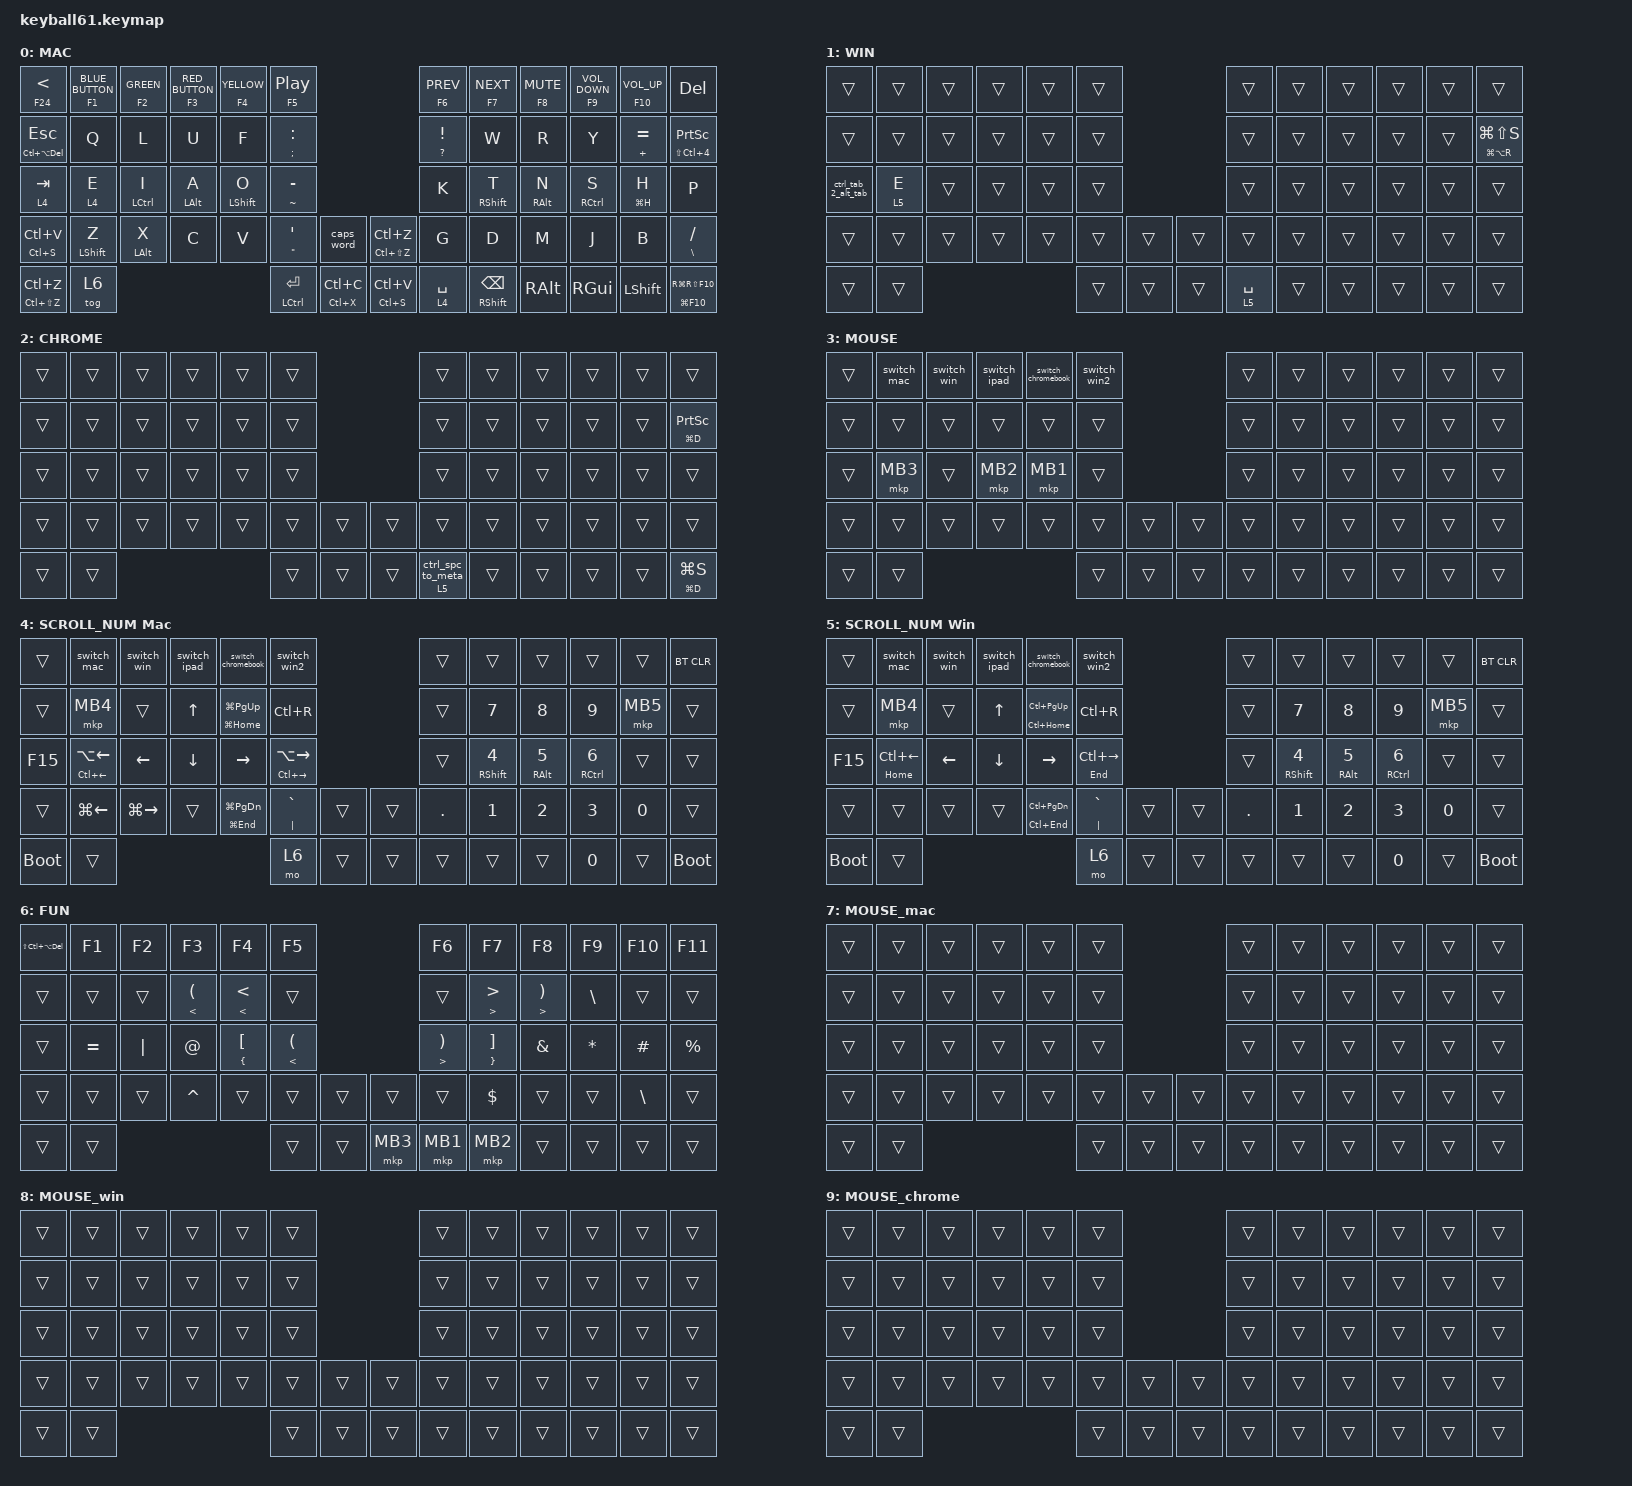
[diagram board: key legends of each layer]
#include <behaviors/mouse_keys.dtsi>
#include <dt-bindings/zmk/mouse.h>
#include <input/processors.dtsi>
#include <behaviors.dtsi>
#include <dt-bindings/zmk/bt.h>
#include <dt-bindings/zmk/keys.h>
#include <dt-bindings/zmk/pointing.h>

// マウスキーを押したらタイムアウトを延長（ドラッグやダブルクリックを考慮 1秒）
// Note: temp-layer は「指定レイヤーを一時的に有効化→解除時に無効化」なので、ここはマウスレイヤーを延長対象にする。

&mkp_input_listener { input-processors = <&zip_temp_layer 3 1000>; };

&lt {
    tapping-term-ms = <280>;
    flavor = "balanced";
    quick-tap-ms = <175>;
    require-prior-idle-ms = <125>;
};

&mt {
    tapping-term-ms = <175>;
    quick-tap-ms = <150>;
};

&caps_word {
    continue-list = <UNDERSCORE BACKSPACE DELETE MINUS>;
    mods = <(MOD_LSFT|MOD_RSFT)>;
};

/ {
    combos {
        compatible = "zmk,combos";

        comma {
            bindings = <&kp COMMA>;
            key-positions = <40 39>;
            require-prior-idle-ms = <40>;
        };

        period {
            bindings = <&kp PERIOD>;
            key-positions = <45 46>;
            require-prior-idle-ms = <40>;
        };

        mb3 {
            bindings = <&mkp MB3>;
            key-positions = <28 27>;
            layers = <3>;
            require-prior-idle-ms = <125>;
        };

        mb4 {
            bindings = <&mkp MB4>;
            key-positions = <14 15>;
            require-prior-idle-ms = <125>;
        };

        mb5 {
            bindings = <&mkp MB5>;
            key-positions = <21 20>;
            require-prior-idle-ms = <125>;
        };

        close {
            bindings = <&kp LC(W)>;
            key-positions = <16 14>;
        };

        reload {
            bindings = <&kp LC(R)>;
            key-positions = <19 21>;
        };

        tab {
            bindings = <&kp TAB>;
            key-positions = <38 40>;
            require-prior-idle-ms = <125>;
        };

        symbol_layer {
            bindings = <&mo 6>;
            key-positions = <55 52>;
            timeout-ms = <80>;
            require-prior-idle-ms = <175>;
        };

        eisu_mac {
            bindings = <&eisu 0 LANGUAGE_2>;
            key-positions = <28 27>;
            require-prior-idle-ms = <125>;
            layers = <0 4 6>;
        };

        eisu_win {
            bindings = <&eisu 0 LS(LC(NUMBER_9))>;
            key-positions = <28 27>;
            require-prior-idle-ms = <125>;
            layers = <1 5>;
        };

        eisu_chrome {
            bindings = <&eisu_chrome 0 LC(SPACE)>;
            key-positions = <28 27>;
            require-prior-idle-ms = <125>;
            layers = <2>;
        };

        kana_mac {
            bindings = <&mc RG(RS(R)) LANGUAGE_1>;
            key-positions = <31 32>;
            require-prior-idle-ms = <125>;
            layers = <0 4 6>;
        };

        kana_win {
            bindings = <&kana_win>;
            key-positions = <31 32>;
            require-prior-idle-ms = <125>;
            layers = <1 5>;
        };

        kana_chrome {
            bindings = <&mc LC(SPACE) INT4>;
            key-positions = <31 32>;
            require-prior-idle-ms = <125>;
            layers = <2>;
        };

        exit_mac {
            bindings = <&to 0>;
            key-positions = <28 27>;
            layers = <7>;
        };

        exit_win {
            bindings = <&to 1>;
            key-positions = <28 27>;
            layers = <8>;
        };

        exit_chrome {
            bindings = <&to 2>;
            key-positions = <28 27>;
            layers = <9>;
        };

        switcher_mac {
            bindings = <&ctrl_tab>;
            key-positions = <45 47>;
            require-prior-idle-ms = <150>;
            layers = <0 4 6>;
        };

        switcher_win {
            bindings = <&alt_tab>;
            key-positions = <45 47>;
            require-prior-idle-ms = <150>;
            layers = <1 2 5>;
        };

        launcher {
            bindings = <&kp LS(LC(LA(LEFT_GUI)))>;
            key-positions = <45 46 47>;
            require-prior-idle-ms = <125>;
        };
    };

    behaviors {
        hmr: homerow_mods_right {
            compatible = "zmk,behavior-hold-tap";
            label = "HOMEROW_MODS_RIGHT";
            bindings = <&kp>, <&kp>;

            #binding-cells = <2>;
            tapping-term-ms = <290>;
            quick-tap-ms = <175>;
            flavor = "balanced";
            require-prior-idle-ms = <125>;
            hold-trigger-on-release;
            hold-trigger-key-positions = <0 1 2 3 4 5 12 13 14 15 16 17 24 25 26 27 28 29 36 37 38 39 40 41 42 50 51 52 53>;
        };

        hml: home_mod_left {
            compatible = "zmk,behavior-hold-tap";
            label = "HOME_MOD_LEFT";
            bindings = <&kp>, <&kp>;

            #binding-cells = <2>;
            tapping-term-ms = <280>;
            quick-tap-ms = <175>;
            flavor = "balanced";
            require-prior-idle-ms = <125>;
            hold-trigger-on-release;
            hold-trigger-key-positions = <6 7 8 9 10 11 18 19 20 21 22 23 30 31 32 33 34 35 43 44 45 46 47 48 49 54 55 56 57 58 59 60>;
        };

        hl: homerow_layer {
            compatible = "zmk,behavior-hold-tap";
            label = "HOMEROW_LAYER";
            bindings = <&mo>, <&kp>;

            #binding-cells = <2>;
            tapping-term-ms = <220>;
            quick-tap-ms = <175>;
            flavor = "tap-preferred";
            require-prior-idle-ms = <125>;
        };

        ctrl_spc_to_meta: ctrl_spc_to_meta {
            compatible = "zmk,behavior-mod-morph";
            label = "CTRL_SPC_TO_META";
            bindings = <&kp SPACE>, <&kp LEFT_GUI>;

            #binding-cells = <0>;
            mods = <(MOD_LCTL)>;
        };

        ht_cb_space: ht_cb_space {
            compatible = "zmk,behavior-hold-tap";
            label = "HT_CB_SPACE";
            bindings = <&mo>, <&ctrl_spc_to_meta>;

            #binding-cells = <2>;
            tapping-term-ms = <280>;
            quick-tap-ms = <175>;
            require-prior-idle-ms = <125>;
            flavor = "balanced";
        };

        eisu: eisu {
            compatible = "zmk,behavior-hold-tap";
            label = "EISU";
            bindings = <&to_eisu_then_confirm>, <&kp>;

            #binding-cells = <2>;
            flavor = "tap-preferred";
            tapping-term-ms = <200>;
        };

        mc: mod_combo {
            compatible = "zmk,behavior-hold-tap";
            label = "ModCombo";
            bindings = <&kp>, <&kp>;

            #binding-cells = <2>;
            tapping-term-ms = <200>;
            flavor = "tap-preferred";
            quick-tap-ms = <175>;
            require-prior-idle-ms = <125>;
        };

        hml_retro: hml_retro {
            compatible = "zmk,behavior-hold-tap";
            label = "HML_RETRO";
            bindings = <&kp>, <&kp>;

            #binding-cells = <2>;
            tapping-term-ms = <280>;
            quick-tap-ms = <175>;
            flavor = "tap-preferred";
            require-prior-idle-ms = <125>;
            hold-trigger-on-release;
            hold-trigger-key-positions = <6 7 8 9 10 11 18 19 20 21 22 23 30 31 32 33 34 35 43 44 45 46 47 48 49 54 55 56 57 58 59 60>;
            retro-tap;
        };

        hmr_retro: hmr_retro {
            compatible = "zmk,behavior-hold-tap";
            label = "HMR_RETRO";
            bindings = <&kp>, <&kp>;

            #binding-cells = <2>;
            tapping-term-ms = <280>;
            quick-tap-ms = <175>;
            flavor = "tap-preferred";
            require-prior-idle-ms = <125>;
            hold-trigger-on-release;
            hold-trigger-key-positions = <0 1 2 3 4 5 12 13 14 15 16 17 24 25 26 27 28 29 36 37 38 39 40 41 42 50 51 52 53>;
            retro-tap;
        };

        eisu_chrome: eisu_chrome {
            compatible = "zmk,behavior-hold-tap";
            label = "EISU_CHROME";
            bindings = <&to_eisu_then_confirm_chrome>, <&kp>;

            #binding-cells = <2>;
            flavor = "tap-preferred";
            tapping-term-ms = <200>;
            require-prior-idle-ms = <125>;
            quick-tap-ms = <175>;
        };

        ctrl_tab_2_alt_tab: ctrl_tab_2_alt_tab {
            compatible = "zmk,behavior-mod-morph";
            label = "CTRL_TAB_2_ALT_TAB";
            bindings = <&kp TAB>, <&kp LA(TAB)>;

            #binding-cells = <0>;
            mods = <(MOD_LCTL)>;
        };
    };

    macros {
        switch_mac: switch_mac {
            compatible = "zmk,behavior-macro";
            #binding-cells = <0>;
            bindings = <&bt BT_SEL 0 &to 0>;
            label = "SWITCH_MAC";
        };

        switch_win: switch_win {
            compatible = "zmk,behavior-macro";
            #binding-cells = <0>;
            bindings = <&bt BT_SEL 1 &to 1>;
            label = "SWITCH_WIN";
        };

        switch_ipad: switch_iPad {
            compatible = "zmk,behavior-macro";
            #binding-cells = <0>;
            bindings = <&bt BT_SEL 2 &to 0>;
            label = "SWITCH_IPAD";
        };

        switch_chromebook: switch_chromebook {
            compatible = "zmk,behavior-macro";
            #binding-cells = <0>;
            bindings = <&bt BT_SEL 3 &to 2>;
            label = "SWITCH_CHROMEBOOK";
        };

        switch_win2: switch_mac2 {
            compatible = "zmk,behavior-macro";
            #binding-cells = <0>;
            bindings = <&bt BT_SEL 4 &to 1>;
            label = "SWITCH_MAC2";
        };

        to_eisu_then_confirm: to_alphabet_then_enter {
            compatible = "zmk,behavior-macro";
            #binding-cells = <0>;
            bindings = <&kp F10>, <&macro_wait_time 1>, <&kp LANGUAGE_2>;

            label = "TO_ALPHABET_THEN_ENTER";
        };

        to_eisu_then_confirm_chrome: to_eisu_then_confirm_chrome {
            compatible = "zmk,behavior-macro";
            #binding-cells = <0>;
            bindings =
                <&kp F10>,
                <&macro_wait_time 1>,
                <&kp LANGUAGE_2>,
                <&macro_wait_time 1>,
                <&kp INTERNATIONAL_4>,
                <&macro_wait_time 1>,
                <&kp LC(RIGHT)>;

            label = "TO_EISU_THEN_CONFIRM_CHROME";
        };

        ctrl_tab: ctrl_tab {
            compatible = "zmk,behavior-macro";
            #binding-cells = <0>;
            bindings =
                <&macro_press>,
                <&kp LCTRL &mo 4>,
                <&macro_tap>,
                <&kp TAB>,
                <&macro_pause_for_release>,
                <&macro_release>,
                <&kp LCTRL &mo 4>;
        };

        alt_tab: alt_tab {
            compatible = "zmk,behavior-macro";
            #binding-cells = <0>;
            bindings =
                <&macro_press>,
                <&kp LALT &mo 5>,
                <&macro_tap>,
                <&kp TAB>,
                <&macro_pause_for_release>,
                <&macro_release>,
                <&kp LALT &mo 5>;
        };

        kana_win: kana_win {
            compatible = "zmk,behavior-macro";
            #binding-cells = <0>;
            bindings =
                <&mc LG(SLASH) LS(LC(NUMBER_8))>,
                <&macro_wait_time 1>,
                <&kp LANG1>;

            label = "KANA_WIN";
        };
    };

    keymap {
        compatible = "zmk,keymap";

        default_mac {
            label = "MAC";
            bindings = <
&mt F24 LESS_THAN          &mt F1 C_BLUE_BUTTON  &mt F2 C_GREEN  &mt F3 C_RED_BUTTON  &mt F4 C_YELLOW    &mt F5 C_PLAY_PAUSE                                                   &mt F6 C_PREV             &mt F7 C_NEXT              &mt F8 C_MUTE     &mt F9 C_VOLUME_DOWN  &mt F10 C_VOLUME_UP  &kp DELETE
&mt LC(LA(DELETE)) ESCAPE  &kp Q                 &kp L           &kp U                &kp F              &mt SEMI COLON                                                        &mt QUESTION EXCLAMATION  &kp W                      &kp R             &kp Y                 &mt PLUS EQUAL       &mt LS(LC(NUMBER_4)) PRINTSCREEN
&lt 4 TAB                  &hl 4 E               &hml LCTRL I    &hml LEFT_ALT A      &hml LEFT_SHIFT O  &mt TILDE MINUS                                                       &kp K                     &hmr RIGHT_SHIFT T         &hmr RIGHT_ALT N  &hmr RCTRL S          &hmr_retro LG(H) H   &kp P
&mt LC(S) LC(V)            &mt LEFT_SHIFT Z      &mt LEFT_ALT X  &kp C                &kp V              &mt DOUBLE_QUOTES SINGLE_QUOTE  &caps_word       &mt LC(LS(Z)) LC(Z)  &kp G                     &kp D                      &kp M             &kp J                 &kp B                &mt BACKSLASH SLASH
&mt LC(LS(Z)) LC(Z)        &tog 6                                                                        &mt LCTRL ENTER                 &mt LC(X) LC(C)  &mt LC(S) LC(V)      &lt 4 SPACE               &mt RIGHT_SHIFT BACKSPACE  &kp RIGHT_ALT     &kp RIGHT_GUI         &kp LEFT_SHIFT       &mt LG(F10) RG(RS(F10))
            >;
        };

        default_win {
            label = "WIN";
            bindings = <
&trans               &trans   &trans  &trans  &trans  &trans                  &trans       &trans  &trans  &trans  &trans  &trans
&trans               &trans   &trans  &trans  &trans  &trans                  &trans       &trans  &trans  &trans  &trans  &mt LG(LA(R)) LG(LS(S))
&ctrl_tab_2_alt_tab  &hl 5 E  &trans  &trans  &trans  &trans                  &trans       &trans  &trans  &trans  &trans  &trans
&trans               &trans   &trans  &trans  &trans  &trans  &trans  &trans  &trans       &trans  &trans  &trans  &trans  &trans
&trans               &trans                           &trans  &trans  &trans  &lt 5 SPACE  &trans  &trans  &trans  &trans  &trans
            >;
        };

        chromebook {
            bindings = <
&trans  &trans  &trans  &trans  &trans  &trans                  &trans            &trans  &trans  &trans  &trans  &trans
&trans  &trans  &trans  &trans  &trans  &trans                  &trans            &trans  &trans  &trans  &trans  &mt LG(D) PRINTSCREEN
&trans  &trans  &trans  &trans  &trans  &trans                  &trans            &trans  &trans  &trans  &trans  &trans
&trans  &trans  &trans  &trans  &trans  &trans  &trans  &trans  &trans            &trans  &trans  &trans  &trans  &trans
&trans  &trans                          &trans  &trans  &trans  &ht_cb_space 5 0  &trans  &trans  &trans  &trans  &mt LG(D) LG(S)
            >;

            label = "CHROME";
        };

        mouse_layer {
            label = "MOUSE";
            bindings = <
&trans  &switch_mac  &switch_win  &switch_ipad  &switch_chromebook  &switch_win2                  &trans  &trans  &trans  &trans  &trans  &trans
&trans  &trans       &trans       &trans        &trans              &trans                        &trans  &trans  &trans  &trans  &trans  &trans
&trans  &mkp MB3     &trans       &mkp MB2      &mkp MB1            &trans                        &trans  &trans  &trans  &trans  &trans  &trans
&trans  &trans       &trans       &trans        &trans              &trans        &trans  &trans  &trans  &trans  &trans  &trans  &trans  &trans
&trans  &trans                                                      &trans        &trans  &trans  &trans  &trans  &trans  &trans  &trans  &trans
            >;
        };

        scroll_num_bt_layer-mac {
            label = "SCROLL_NUM Mac";
            bindings = <
&trans       &switch_mac            &switch_win          &switch_ipad    &switch_chromebook      &switch_win2                             &trans      &trans                     &trans                   &trans                       &trans    &bt BT_CLR
&trans       &mkp MB4               &trans               &kp UP_ARROW    &mt LG(HOME) LG(PG_UP)  &kp LC(R)                                &trans      &kp N7                     &kp N8                   &kp N9                       &mkp MB5  &trans
&kp F15      &mt LC(LEFT) LA(LEFT)  &kp LEFT_ARROW       &kp DOWN_ARROW  &kp RIGHT               &mt LC(RIGHT) LA(RIGHT)                  &trans      &hmr RIGHT_SHIFT NUMBER_4  &hmr RIGHT_ALT NUMBER_5  &hmr RIGHT_CONTROL NUMBER_6  &trans    &trans
&trans       &kp LG(LEFT)           &kp LG(RIGHT_ARROW)  &trans          &mt LG(END) LG(PG_DN)   &mt PIPE GRAVE           &trans  &trans  &kp PERIOD  &kp NUMBER_1               &kp NUMBER_2             &kp NUMBER_3                 &kp N0    &trans
&bootloader  &trans                                                                              &mo 6                    &trans  &trans  &trans      &trans                     &trans                   &kp N0                       &trans    &bootloader
            >;
        };

        scroll_num_bt_layer-win {
            label = "SCROLL_NUM Win";
            bindings = <
&trans       &switch_mac              &switch_win     &switch_ipad    &switch_chromebook      &switch_win2                       &trans      &trans                    &trans                  &trans                      &trans    &bt BT_CLR
&trans       &mkp MB4                 &trans          &kp UP_ARROW    &mt LC(HOME) LC(PG_UP)  &kp LC(R)                          &trans      &kp N7                    &kp N8                  &kp N9                      &mkp MB5  &trans
&kp F15      &mt HOME LC(LEFT_ARROW)  &kp LEFT_ARROW  &kp DOWN_ARROW  &kp RIGHT               &mt END LC(RIGHT)                  &trans      &mt RIGHT_SHIFT NUMBER_4  &mt RIGHT_ALT NUMBER_5  &mt RIGHT_CONTROL NUMBER_6  &trans    &trans
&trans       &trans                   &trans          &trans          &mt LC(END) LC(PG_DN)   &mt PIPE GRAVE     &trans  &trans  &kp PERIOD  &kp NUMBER_1              &kp NUMBER_2            &kp NUMBER_3                &kp N0    &trans
&bootloader  &trans                                                                           &mo 6              &trans  &trans  &trans      &trans                    &trans                  &kp N0                      &trans    &bootloader
            >;
        };

        function_layer {
            label = "FUN";
            bindings = <
&kp LS(LC(LA(DEL)))  &kp F1     &kp F2    &kp F3                          &kp F4                       &kp F5                                            &kp F6                              &kp F7                         &kp F8                              &kp F9         &kp F10        &kp F11
&trans               &trans     &trans    &mt LESS_THAN LEFT_PARENTHESIS  &mt LESS_THAN LESS_THAN      &trans                                            &trans                              &mt GREATER_THAN GREATER_THAN  &mt GREATER_THAN RIGHT_PARENTHESIS  &kp BACKSLASH  &trans         &trans
&trans               &kp EQUAL  &kp PIPE  &kp AT_SIGN                     &mt LEFT_BRACE LEFT_BRACKET  &mt LESS_THAN LEFT_PARENTHESIS                    &mt GREATER_THAN RIGHT_PARENTHESIS  &mt RIGHT_BRACE RIGHT_BRACKET  &kp AMPERSAND                       &kp ASTERISK   &kp HASH       &kp PERCENT
&trans               &trans     &trans    &kp CARET                       &trans                       &trans                          &trans  &trans    &trans                              &kp DOLLAR                     &trans                              &trans         &kp BACKSLASH  &trans
&trans               &trans                                                                            &trans                          &trans  &mkp MB3  &mkp MB1                            &mkp MB2                       &trans                              &trans         &trans         &trans
            >;
        };

        exit_mac {
            bindings = <
&trans  &trans  &trans  &trans  &trans  &trans                  &trans  &trans  &trans  &trans  &trans  &trans
&trans  &trans  &trans  &trans  &trans  &trans                  &trans  &trans  &trans  &trans  &trans  &trans
&trans  &trans  &trans  &trans  &trans  &trans                  &trans  &trans  &trans  &trans  &trans  &trans
&trans  &trans  &trans  &trans  &trans  &trans  &trans  &trans  &trans  &trans  &trans  &trans  &trans  &trans
&trans  &trans                          &trans  &trans  &trans  &trans  &trans  &trans  &trans  &trans  &trans
            >;

            label = "MOUSE_mac";
        };

        exit_win {
            bindings = <
&trans  &trans  &trans  &trans  &trans  &trans                  &trans  &trans  &trans  &trans  &trans  &trans
&trans  &trans  &trans  &trans  &trans  &trans                  &trans  &trans  &trans  &trans  &trans  &trans
&trans  &trans  &trans  &trans  &trans  &trans                  &trans  &trans  &trans  &trans  &trans  &trans
&trans  &trans  &trans  &trans  &trans  &trans  &trans  &trans  &trans  &trans  &trans  &trans  &trans  &trans
&trans  &trans                          &trans  &trans  &trans  &trans  &trans  &trans  &trans  &trans  &trans
            >;

            label = "MOUSE_win";
        };

        exit_chrome {
            bindings = <
&trans  &trans  &trans  &trans  &trans  &trans                  &trans  &trans  &trans  &trans  &trans  &trans
&trans  &trans  &trans  &trans  &trans  &trans                  &trans  &trans  &trans  &trans  &trans  &trans
&trans  &trans  &trans  &trans  &trans  &trans                  &trans  &trans  &trans  &trans  &trans  &trans
&trans  &trans  &trans  &trans  &trans  &trans  &trans  &trans  &trans  &trans  &trans  &trans  &trans  &trans
&trans  &trans                          &trans  &trans  &trans  &trans  &trans  &trans  &trans  &trans  &trans
            >;

            label = "MOUSE_chrome";
        };
    };

    conditional_layers {
        compatible = "zmk,conditional-layers";

        tri_mac {
            if-layers = <0 3>;
            then-layer = <7>;
        };

        tri_win {
            if-layers = <1 3>;
            then-layer = <8>;
        };

        tri_chrome {
            if-layers = <2 3>;
            then-layer = <9>;
        };
    };
};
